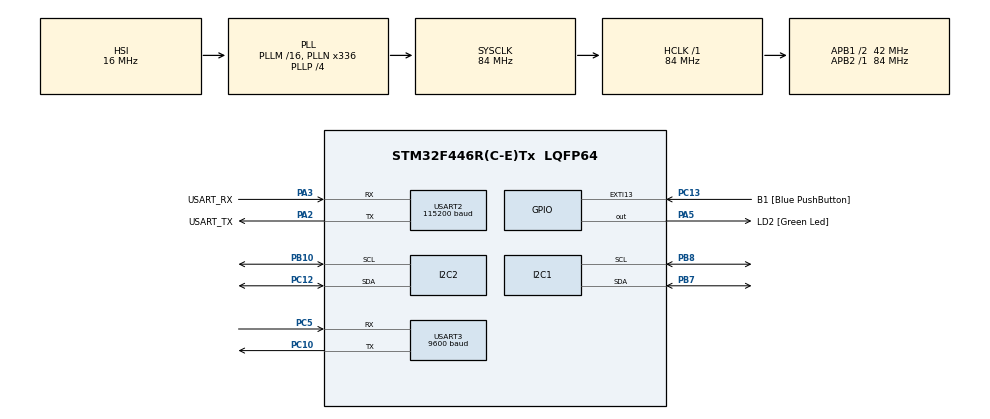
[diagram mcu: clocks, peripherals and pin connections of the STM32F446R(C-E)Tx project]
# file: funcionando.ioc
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Mcu.Family=STM32F4
Mcu.Name=STM32F446R(C-E)Tx
Mcu.Package=LQFP64
NVIC.PriorityGroup=NVIC_PRIORITYGROUP_0
NVIC.USART3_IRQn=true\:0\:0\:false\:false\:true\:true\:true\:true
PA13.GPIO_Label=TMS
PA13.Mode=Serial_Wire
PA13.Signal=SYS_JTMS-SWDIO
PA14.GPIO_Label=TCK
PA14.Mode=Serial_Wire
PA14.Signal=SYS_JTCK-SWCLK
PA2.GPIO_Label=USART_TX
PA2.Mode=Asynchronous
PA2.Signal=USART2_TX
PA3.GPIO_Label=USART_RX
PA3.Mode=Asynchronous
PA3.Signal=USART2_RX
PA5.GPIO_Label=LD2 [Green Led]
PA5.Signal=GPIO_Output
PB10.Mode=I2C
PB10.Signal=I2C2_SCL
PB3.GPIO_Label=SWO
PB3.Signal=SYS_JTDO-SWO
PB7.Mode=I2C
PB7.Signal=I2C1_SDA
PB8.Mode=I2C
PB8.Signal=I2C1_SCL
PC10.Mode=Asynchronous
PC10.Signal=USART3_TX
PC12.Mode=I2C
PC12.Signal=I2C2_SDA
PC13.GPIO_Label=B1 [Blue PushButton]
PC13.GPIO_ModeDefaultEXTI=GPIO_MODE_IT_FALLING
PC13.Signal=GPXTI13
PC14-OSC32_IN.Mode=LSE-External-Oscillator
PC14-OSC32_IN.Signal=RCC_OSC32_IN
PC15-OSC32_OUT.Mode=LSE-External-Oscillator
PC15-OSC32_OUT.Signal=RCC_OSC32_OUT
PC5.Mode=Asynchronous
PC5.Signal=USART3_RX
PH0-OSC_IN.Mode=HSE-External-Oscillator
PH0-OSC_IN.Signal=RCC_OSC_IN
PH1-OSC_OUT.Mode=HSE-External-Oscillator
PH1-OSC_OUT.Signal=RCC_OSC_OUT
ProjectManager.HeapSize=0x200
ProjectManager.StackSize=0x400
ProjectManager.TargetToolchain=STM32CubeIDE
RCC.48MHZClocksFreq_Value=84000000
RCC.AHBFreq_Value=84000000
RCC.APB1CLKDivider=RCC_HCLK_DIV2
RCC.APB1Freq_Value=42000000
RCC.APB1TimFreq_Value=84000000
RCC.APB2Freq_Value=84000000
RCC.APB2TimFreq_Value=84000000
RCC.CortexFreq_Value=84000000
RCC.FLatency-AdvancedSettings=FLASH_LATENCY_2
RCC.HCLKFreq_Value=84000000
RCC.HSE_VALUE=8000000
RCC.HSI_VALUE=16000000
RCC.PLLN=336
RCC.PLLP=RCC_PLLP_DIV4
RCC.SYSCLKFreq_VALUE=84000000
RCC.SYSCLKSource=RCC_SYSCLKSOURCE_PLLCLK
RCC.USBFreq_Value=168000000
RCC.VCOOutputFreq_Value=336000000
USART2.BaudRate=115200
USART2.VirtualMode=VM_ASYNC
USART3.BaudRate=9600
USART3.VirtualMode=VM_ASYNC
board=NUCLEO-F446RE

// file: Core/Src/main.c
/* USER CODE BEGIN Header */
/**
  ******************************************************************************
  * @file           : main.c
  * @brief          : Main program body
  ******************************************************************************
  * @attention
  *
  * Copyright (c) 2024 STMicroelectronics.
  * All rights reserved.
  *
  * This software is licensed under terms that can be found in the LICENSE file
  * in the root directory of this software component.
  * If no LICENSE file comes with this software, it is provided AS-IS.
  *
  ******************************************************************************
  */
/* USER CODE END Header */
#include "main.h"

/* USER CODE BEGIN Includes */
#include "data_filter_service.h"
#include "BLE.h"
//#include "location_service.h"
#include <stdio.h>
#include <string.h>
//static void UART_TransmitMessage(char*);
//char message[100] = "";

 char caractere[2]; // Variable to receive UART input
/* USER CODE END Includes */

I2C_HandleTypeDef hi2c1;
I2C_HandleTypeDef hi2c2;

UART_HandleTypeDef huart2;
UART_HandleTypeDef huart3;

/* USER CODE BEGIN PV */
buffer_t b1Buffer, b2Buffer, b3Buffer;
/* USER CODE END PV */

void SystemClock_Config(void);
static void MX_GPIO_Init(void);
static void MX_USART2_UART_Init(void);
static void MX_I2C2_Init(void);
static void MX_I2C1_Init(void);
static void MX_USART3_UART_Init(void);

/* USER CODE BEGIN 0 */
#include "magnetometro.h"
//#include "stm32f4xx_hal_i2c.h"
#include "print_readings.h"
//#include "HMC5883L.h"
//#include "I2Cdev.h"
XYCoordinates reading[8];
XYCoordinates PosBeaconChegada = {35,-74};
int16_t arrivalAngle;
/* USER CODE END 0 */

int main(void)
{

  /* MCU Configuration--------------------------------------------------------*/

  /* Reset of all peripherals, Initializes the Flash interface and the Systick. */
  HAL_Init();

  /* Configure the system clock */
  SystemClock_Config();

  /* Initialize all configured peripherals */
  MX_GPIO_Init();
  MX_USART2_UART_Init();
  MX_I2C2_Init();
  MX_I2C1_Init();
  MX_USART3_UART_Init();
  /* USER CODE BEGIN 2 */
  /* Initialize the Bluetooth driver */
  BLE_HandleTypeDef bleHandler = {
      .huart = &huart3,
      .name = "MASTER_SCAN_SLAVE",
      .baudRate = BAUD_9600,
      .role = MASTER,
      .parity = NO_PARITY,
      .stopBit = 1
  };

  ble_Init(&bleHandler);

  /* Initialize the data filters */
  //BLE_HandleTypeDef bleHandler;
  //DataFilterService_InitBuffer(&b1Buffer);
 // DataFilterService_InitBuffer(&b2Buffer);
  //DataFilterService_InitBuffer(&b3Buffer);

  /* Initialize location service */
  //LocationService_Init(&huart2, NULL);

  HMC5883L_Init(&hi2c1);
  uint8_t resultsize;
  XYCoordinates  final_coordinates ;
  int16_t Angle;
  scan_t* gScan;

  //ble_ConnectToDevice("Vpena", &huart3);
  /* USER CODE END 2 */

  /* Infinite loop */
  while (1)
  {

    /* USER CODE BEGIN 3 */

    /* Update location */
    //LocationService_UpdateLocation();

    /* Retrieve location and angle */
    //location_t location = LocationService_GetLocation();
    //float arrivalAngle = LocationService_GetArrivalAngle();
    //uint8_t isInDestiny = LocationService_IsInDestiny();

    /* Send results via UART */
//    char message[100];
//    snprintf(message, sizeof(message),
//        "Location: Lat=%.2f, Long=%.2f, Angle=%.2f, InDestiny=%d\r\n",
//        location.latitude, location.longitude, arrivalAngle, isInDestiny);
//    HAL_UART_Transmit(&huart2, (uint8_t *)message, strlen(message), HAL_MAX_DELAY);
//
//

	  ble_InquireDevices(&huart3);
	  HAL_Delay(3000);

	  snprintf(message, sizeof(message), "==================== Scan Devices =========== \r\n");
	  UART_TransmitMessage(message,huart2);
	  HAL_Delay(500);

	  //scann(huart2);

	  if(gScan->size > 0) {
	      DisplayScannedDevices(gScan,huart2);
	  } else {
	      snprintf(message, sizeof(message), "No devices found.\r\n");
	      UART_TransmitMessage(message, huart2);
	  }

	 // DisplayScannedDevices(scan,huart2);

    // PART 3 CODE
   HMC5883L_ReadData(&hi2c1, reading);

    resultsize = Filter_Data(reading);
    final_coordinates   = Data_Means(reading, resultsize);

    Angle = XY_to_Degrees(final_coordinates);

    arrivalAngle = XY_to_Degrees(PosBeaconChegada);

    snprintf(message, sizeof(message),"Final Coordinates : x =  %d   y =  %d  :  angle  = %d  heading pos  = %d\r\n" ,
        final_coordinates.x,final_coordinates.y,Angle, RudderDegree(Angle,arrivalAngle));

    UART_TransmitMessage(message,huart2);

 	  HAL_Delay(10);
 	  // Check for UART input
    if (HAL_UART_Receive(&huart2, caractere, 1, 1000) == HAL_OK) {
      snprintf(message, sizeof(message),
                "Received Character: %c\r\n", caractere[0]);
      UART_TransmitMessage(message,huart2);
    }

  }
  /* USER CODE END 3 */
}

void SystemClock_Config(void)
{
  RCC_OscInitTypeDef RCC_OscInitStruct = {0};
  RCC_ClkInitTypeDef RCC_ClkInitStruct = {0};

  /** Configure the main internal regulator output voltage
  */
  __HAL_RCC_PWR_CLK_ENABLE();
  __HAL_PWR_VOLTAGESCALING_CONFIG(PWR_REGULATOR_VOLTAGE_SCALE3);

  /** Initializes the RCC Oscillators according to the specified parameters
  * in the RCC_OscInitTypeDef structure.
  */
  RCC_OscInitStruct.OscillatorType = RCC_OSCILLATORTYPE_HSI;
  RCC_OscInitStruct.HSIState = RCC_HSI_ON;
  RCC_OscInitStruct.HSICalibrationValue = RCC_HSICALIBRATION_DEFAULT;
  RCC_OscInitStruct.PLL.PLLState = RCC_PLL_ON;
  RCC_OscInitStruct.PLL.PLLSource = RCC_PLLSOURCE_HSI;
  RCC_OscInitStruct.PLL.PLLM = 16;
  RCC_OscInitStruct.PLL.PLLN = 336;
  RCC_OscInitStruct.PLL.PLLP = RCC_PLLP_DIV4;
  RCC_OscInitStruct.PLL.PLLQ = 2;
  RCC_OscInitStruct.PLL.PLLR = 2;
  if (HAL_RCC_OscConfig(&RCC_OscInitStruct) != HAL_OK)
  {
    Error_Handler();
  }

  /** Initializes the CPU, AHB and APB buses clocks
  */
  RCC_ClkInitStruct.ClockType = RCC_CLOCKTYPE_HCLK|RCC_CLOCKTYPE_SYSCLK
                              |RCC_CLOCKTYPE_PCLK1|RCC_CLOCKTYPE_PCLK2;
  RCC_ClkInitStruct.SYSCLKSource = RCC_SYSCLKSOURCE_PLLCLK;
  RCC_ClkInitStruct.AHBCLKDivider = RCC_SYSCLK_DIV1;
  RCC_ClkInitStruct.APB1CLKDivider = RCC_HCLK_DIV2;
  RCC_ClkInitStruct.APB2CLKDivider = RCC_HCLK_DIV1;

  if (HAL_RCC_ClockConfig(&RCC_ClkInitStruct, FLASH_LATENCY_2) != HAL_OK)
  {
    Error_Handler();
  }
}

static void MX_I2C1_Init(void)
{

  hi2c1.Instance = I2C1;
  hi2c1.Init.ClockSpeed = 100000;
  hi2c1.Init.DutyCycle = I2C_DUTYCYCLE_2;
  hi2c1.Init.OwnAddress1 = 0;
  hi2c1.Init.AddressingMode = I2C_ADDRESSINGMODE_7BIT;
  hi2c1.Init.DualAddressMode = I2C_DUALADDRESS_DISABLE;
  hi2c1.Init.OwnAddress2 = 0;
  hi2c1.Init.GeneralCallMode = I2C_GENERALCALL_DISABLE;
  hi2c1.Init.NoStretchMode = I2C_NOSTRETCH_DISABLE;
  if (HAL_I2C_Init(&hi2c1) != HAL_OK)
  {
    Error_Handler();
  }

}

static void MX_I2C2_Init(void)
{

  hi2c2.Instance = I2C2;
  hi2c2.Init.ClockSpeed = 100000;
  hi2c2.Init.DutyCycle = I2C_DUTYCYCLE_2;
  hi2c2.Init.OwnAddress1 = 0;
  hi2c2.Init.AddressingMode = I2C_ADDRESSINGMODE_7BIT;
  hi2c2.Init.DualAddressMode = I2C_DUALADDRESS_DISABLE;
  hi2c2.Init.OwnAddress2 = 0;
  hi2c2.Init.GeneralCallMode = I2C_GENERALCALL_DISABLE;
  hi2c2.Init.NoStretchMode = I2C_NOSTRETCH_DISABLE;
  if (HAL_I2C_Init(&hi2c2) != HAL_OK)
  {
    Error_Handler();
  }

}

static void MX_USART2_UART_Init(void)
{

  huart2.Instance = USART2;
  huart2.Init.BaudRate = 115200;
  huart2.Init.WordLength = UART_WORDLENGTH_8B;
  huart2.Init.StopBits = UART_STOPBITS_1;
  huart2.Init.Parity = UART_PARITY_NONE;
  huart2.Init.Mode = UART_MODE_TX_RX;
  huart2.Init.HwFlowCtl = UART_HWCONTROL_NONE;
  huart2.Init.OverSampling = UART_OVERSAMPLING_16;
  if (HAL_UART_Init(&huart2) != HAL_OK)
  {
    Error_Handler();
  }

}

static void MX_USART3_UART_Init(void)
{

  huart3.Instance = USART3;
  huart3.Init.BaudRate = 9600;
  huart3.Init.WordLength = UART_WORDLENGTH_8B;
  huart3.Init.StopBits = UART_STOPBITS_1;
  huart3.Init.Parity = UART_PARITY_NONE;
  huart3.Init.Mode = UART_MODE_TX_RX;
  huart3.Init.HwFlowCtl = UART_HWCONTROL_NONE;
  huart3.Init.OverSampling = UART_OVERSAMPLING_16;
  if (HAL_UART_Init(&huart3) != HAL_OK)
  {
    Error_Handler();
  }

}

static void MX_GPIO_Init(void)
{
  GPIO_InitTypeDef GPIO_InitStruct = {0};

  /* GPIO Ports Clock Enable */
  __HAL_RCC_GPIOC_CLK_ENABLE();
  __HAL_RCC_GPIOH_CLK_ENABLE();
  __HAL_RCC_GPIOA_CLK_ENABLE();
  __HAL_RCC_GPIOB_CLK_ENABLE();

  /*Configure GPIO pin Output Level */
  HAL_GPIO_WritePin(LD2_GPIO_Port, LD2_Pin, GPIO_PIN_RESET);

  /*Configure GPIO pin : B1_Pin */
  GPIO_InitStruct.Pin = B1_Pin;
  GPIO_InitStruct.Mode = GPIO_MODE_IT_FALLING;
  GPIO_InitStruct.Pull = GPIO_NOPULL;
  HAL_GPIO_Init(B1_GPIO_Port, &GPIO_InitStruct);

  /*Configure GPIO pin : LD2_Pin */
  GPIO_InitStruct.Pin = LD2_Pin;
  GPIO_InitStruct.Mode = GPIO_MODE_OUTPUT_PP;
  GPIO_InitStruct.Pull = GPIO_NOPULL;
  GPIO_InitStruct.Speed = GPIO_SPEED_FREQ_LOW;
  HAL_GPIO_Init(LD2_GPIO_Port, &GPIO_InitStruct);

}

void Error_Handler(void)
{
  __disable_irq();
  while (1)
  {
  }
}
